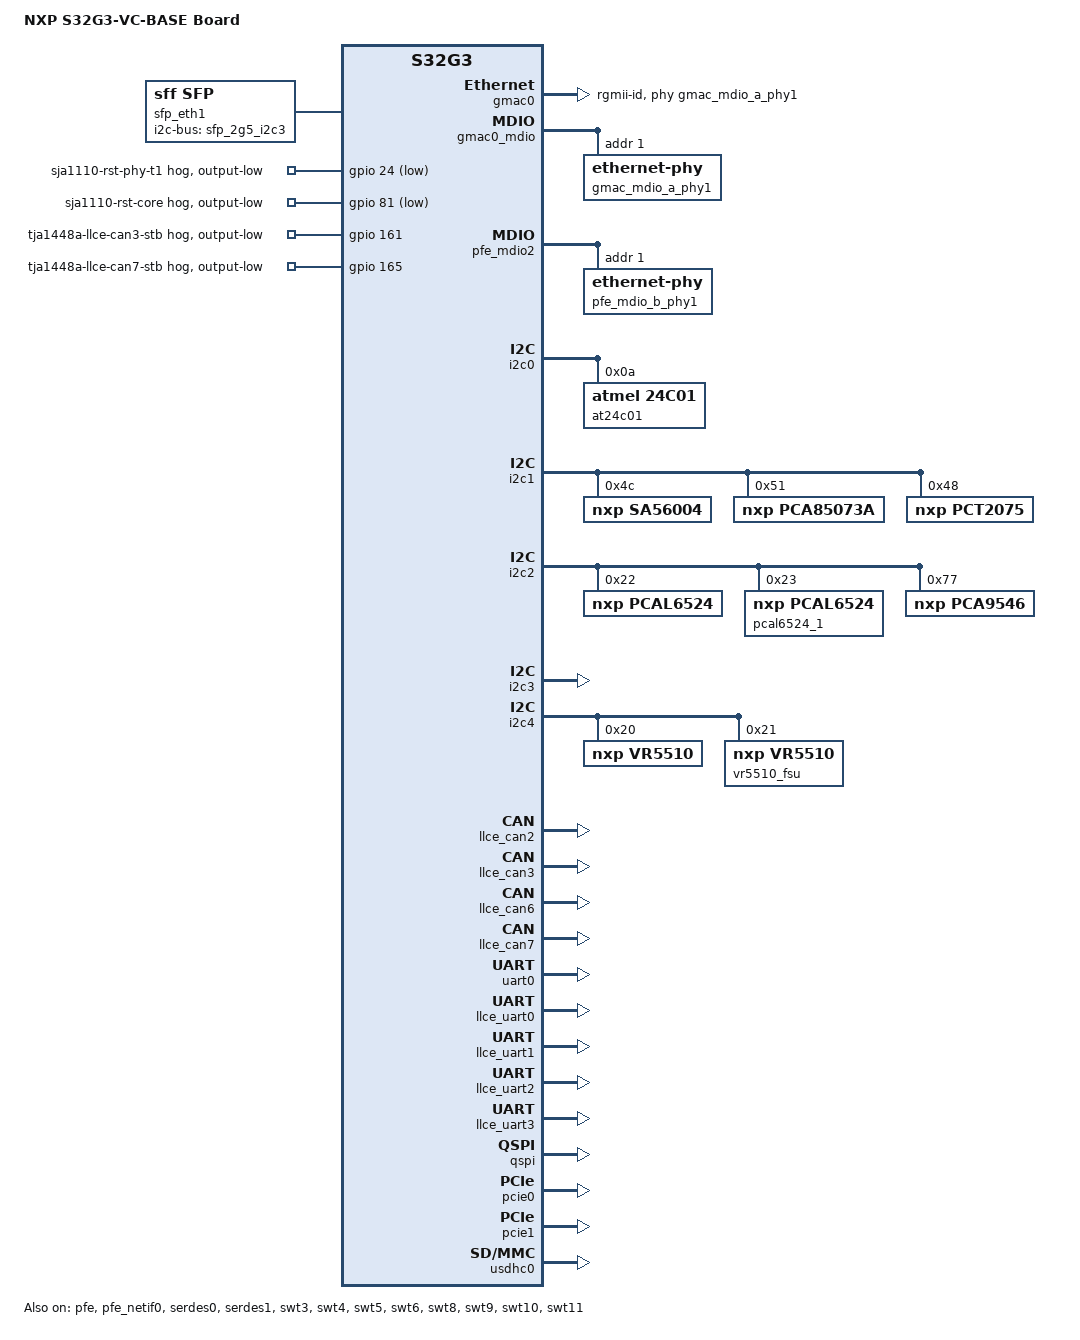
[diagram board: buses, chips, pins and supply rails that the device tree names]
// SPDX-License-Identifier: GPL-2.0-or-later OR BSD-3-Clause
/*
 * Device Tree file for S32G3-VC-BASE board.
 *
 * Copyright 2024 NXP
 */

/dts-v1/;

#include "s32g399a-vc.dtsi"

/ {
	model = "NXP S32G3-VC-BASE Board";
	compatible = "nxp,s32g399a-base", "nxp,s32g3";

	chosen {
		stdout-path = "serial0:115200n8";
	};

	sfp_eth1: sfp-eth1 {
		compatible = "sff,sfp";
		i2c-bus = <&sfp_2g5_i2c3>;
		/*
		 * All SFP signals (TX_FAULT, RX_LOS etc.) are
		 * coming directly from the 0x22 I2C2 IO expender.
		 */
	};
};

&gmac0 {
	status = "okay";
	phy-handle = <&gmac_mdio_a_phy1>;
	phy-mode = "rgmii-id";
};

&gmac0_mdio {
	/* KSZ9131 GMAC */
	gmac_mdio_a_phy1: ethernet-phy@1 {
		reg = <1>;
	};
};

&pfe {
	status = "okay";
};

&pfe_mdio0 {
	/* unused */
	status = "disabled";
};

&pfe_mdio1 {
	/* occupied by GMAC0 */
	status = "disabled";
};

&pfe_mdio2 {
	#address-cells = <1>;
	#size-cells = <0>;

	/* TJA1120 */
	pfe_mdio_b_phy1: ethernet-phy@1 {
		reg = <1>;
	};
};

&pfe_netif0 {
	status = "okay";
	sfp = <&sfp_eth1>;
	phy-mode = "sgmii";
	managed = "in-band-status";
};

&pfe_netif1 {
	phy-mode = "sgmii";

	fixed-link {
		speed = <1000>;
		full-duplex;
	};
};

&pfe_netif2 {
	phy-mode = "rgmii-id";
	phy-handle = <&pfe_mdio_b_phy1>;

	fixed-link {
		speed = <1000>;
		full-duplex;
	};
};

&i2c0 {
	status = "okay";

	at24c01: eeprom@a {
		compatible = "atmel,24c01";
		reg = <0xa>;
	};
};

&i2c1 {
	status = "okay";

	sa56004: temperature-sensor@4c {
		compatible = "nxp,sa56004";
		reg = <0x4c>;
	};

	pca85073a: rtc@51 {
		compatible = "nxp,pca85073a";
		reg = <0x51>;
		nxp,no-battery;
	};

	pct2075: pct2075@48 {
		compatible = "nxp,pct2075";
		reg = <0x48>;
	};
};

&i2c2 {
	status = "okay";

	pcal6524: gpio-expander@22 {
		compatible = "nxp,pcal6524";
		reg = <0x22>;
		gpio-controller;
		#gpio-cells = <2>;
	};

	pcal6524_1: gpio-expander@23 {
		compatible = "nxp,pcal6524";
		reg = <0x23>;
		gpio-controller;
		#gpio-cells = <2>;
	};

	pca9546: i2c-mux@77 {
		compatible = "nxp,pca9546";
		reg = <0x77>;
		#address-cells = <1>;
		#size-cells = <0>;
	};
};

&i2c3 {
	status = "okay";

	sfp_2g5_i2c3: i2c@50 {
		#address-cells = <1>;
		#size-cells = <0>;
		reg = <0x50>;
	};
};

&i2c4 {
	status = "okay";

	vr5510@20 {
		compatible = "nxp,vr5510";
		reg = <0x20>;
		status = "okay";
	};

	vr5510_fsu@21 {
		compatible = "nxp,vr5510";
		reg = <0x21>;
		status = "okay";
	};
};

&gpio {
	sja1110-rst-phy-t1-hog {
		gpio-hog;
		gpios = <24 GPIO_ACTIVE_LOW>;
		output-low;
		line-name = "sja1110-rst-phy-t1";
	};

	sja1110-rst-core-hog {
		gpio-hog;
		gpios = <81 GPIO_ACTIVE_LOW>;
		output-low;
		line-name = "sja1110-rst-core";
	};

	/*
	 * Drive GPIO[161] low for LLCE_CAN3 enablement.
	 */
	tja1448a-llce-can3-stb-hog {
		gpio-hog;
		gpios = <161 GPIO_ACTIVE_HIGH>;
		output-low;
		line-name = "tja1448a-llce-can3-stb";
	};

	/*
	 * Drive GPIO[165] low for LLCE_CAN7 enablement.
	 */
	tja1448a-llce-can7-stb-hog {
		gpio-hog;
		gpios = <165 GPIO_ACTIVE_HIGH>;
		output-low;
		line-name = "tja1448a-llce-can7-stb";
	};
};

&llce_can2 {
	status = "okay";
};

&llce_can3 {
	status = "okay";
};

&llce_can6 {
	status = "okay";
};

&llce_can7 {
	status = "okay";
};

&uart0 {
	status = "okay";
};

&llce_uart0 {
	status = "okay";
};

&llce_uart1 {
	status = "okay";
};

&llce_uart2 {
	status = "okay";
};

&llce_uart3 {
	status = "okay";
};

&qspi {
	status = "okay";
};

&serdes0 {
	status  = "okay";
};

&serdes1 {
	status  = "okay";
};

&swt3 {
	status = "okay";
};

&swt4 {
	status = "okay";
};

&swt5 {
	status = "okay";
};

&swt6 {
	status = "okay";
};

&swt8 {
	status = "okay";
};

&swt9 {
	status = "okay";
};

&swt10 {
	status = "okay";
};

&swt11 {
	status = "okay";
};

&pcie0 {
	status = "okay";
};

&pcie1 {
	status = "okay";
};

&usdhc0 {
	status = "okay";
	/*
	 * Remove no-1-8-v to enable higher speed modes
	 * for SD card such as: SDR50 or DDR50.
	 */
	no-1-8-v;
};
